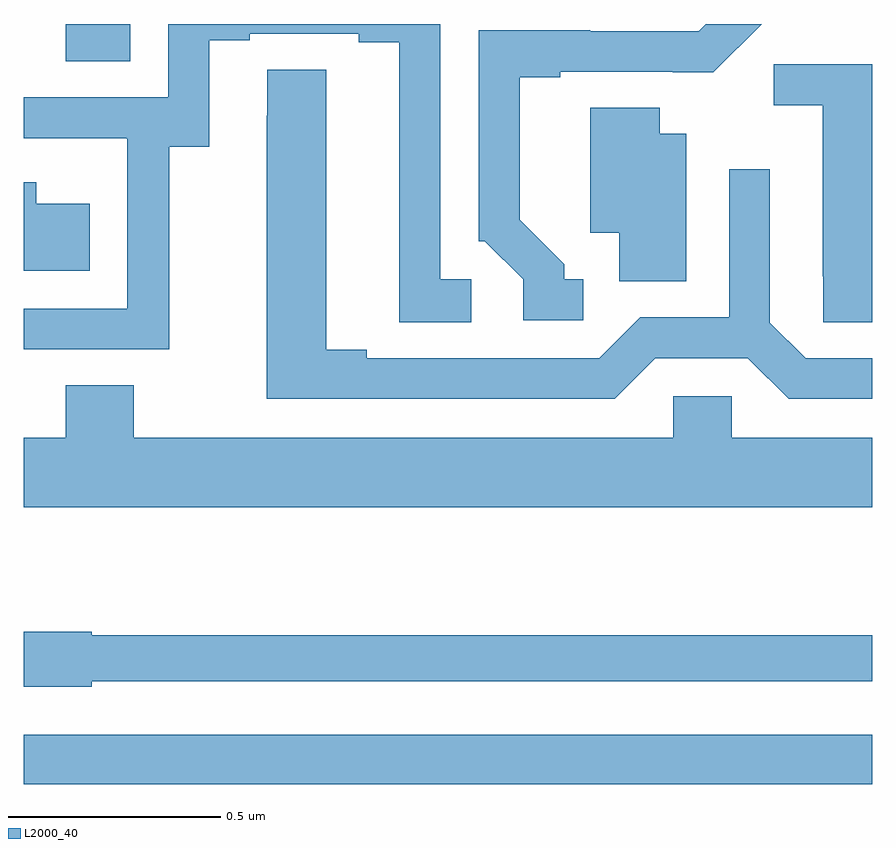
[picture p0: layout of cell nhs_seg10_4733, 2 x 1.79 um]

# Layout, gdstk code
import gdstk
lib = gdstk.Library(unit=1e-6, precision=1e-09)
def R(c, l, rs):  # rectangles x0, y0, x1, y1
    for r in rs: c.add(gdstk.rectangle(r[:2], r[2:], *l))
def P(c, l, *ps):  # polygons
    for p in ps: c.add(gdstk.Polygon(p, *l))
L2000_40 = (2000, 40)

nhs_seg10_4733 = lib.new_cell('nhs_seg10_4733')
R(nhs_seg10_4733, L2000_40, [(170,1255.708,172,1255.824), (170.099,1257.412,170.251,1257.5)])
P(nhs_seg10_4733, L2000_40, [(171.319,1256.898),(171.274,1256.898),(171.274,1256.933),(171.169,1257.038),(171.169,1257.375),(171.265,1257.375),(171.265,1257.387),(171.53,1257.387),(171.53,1257.386),(171.626,1257.386),(171.74,1257.5),(171.608,1257.5),(171.591,1257.483),(171.335,1257.483),(171.335,1257.485),(171.072,1257.485),(171.072,1256.988),(171.087,1256.988),(171.177,1256.898),(171.177,1256.802),(171.319,1256.802)],
  [(170.343,1257.211),(170.437,1257.211),(170.437,1257.462),(170.533,1257.462),(170.533,1257.477),(170.789,1257.477),(170.789,1257.457),(170.885,1257.457),(170.885,1256.797),(171.055,1256.797),(171.055,1256.898),(170.982,1256.898),(170.982,1257.5),(170.34,1257.5),(170.34,1257.327),(170,1257.327),(170,1257.231),(170.243,1257.231),(170.243,1257.23),(170.244,1257.23),(170.244,1256.829),(170,1256.829),(170,1256.733),(170.343,1256.733)],
  [(172,1257.405),(171.768,1257.405),(171.768,1257.308),(171.884,1257.308),(171.884,1256.905),(171.885,1256.905),(171.885,1256.797),(172,1256.797)],
  [(171.489,1256.712),(171.707,1256.712),(171.803,1256.616),(172,1256.616),(172,1256.712),(171.843,1256.712),(171.759,1256.796),(171.759,1257.157),(171.663,1257.157),(171.663,1256.808),(171.453,1256.808),(171.357,1256.712),(170.809,1256.712),(170.809,1256.732),(170.713,1256.732),(170.713,1257.392),(170.574,1257.392),(170.574,1257.284),(170.573,1257.284),(170.573,1256.616),(171.393,1256.616)],
  [(171.562,1257.241),(171.499,1257.241),(171.499,1257.302),(171.335,1257.302),(171.335,1257.008),(171.404,1257.008),(171.404,1256.893),(171.562,1256.893)],
  [(170.155,1257.076),(170.029,1257.076),(170.029,1257.127),(170,1257.127),(170,1256.918),(170.155,1256.918)],
  [(172,1256.524),(171.669,1256.524),(171.669,1256.622),(171.531,1256.622),(171.531,1256.524),(170.259,1256.524),(170.259,1256.648),(170.099,1256.648),(170.099,1256.524),(170,1256.524),(170,1256.36),(172,1256.36)],
  [(170.16,1255.95),(172,1255.95),(172,1256.059),(170.16,1256.059),(170.16,1256.067),(170,1256.067),(170,1255.937),(170.16,1255.937)])

lib.write_gds('nhs_seg10_4733.gds')
